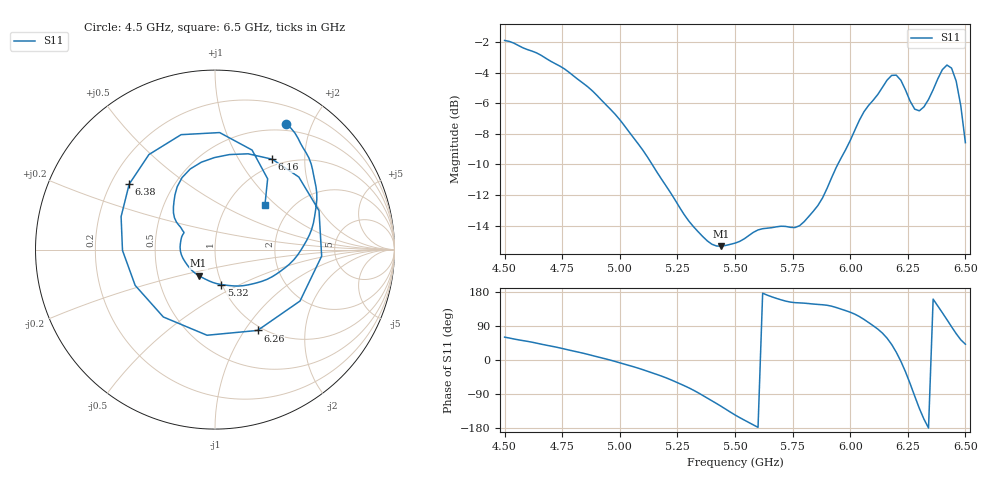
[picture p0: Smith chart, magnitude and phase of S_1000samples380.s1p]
! TOUCHSTONE file generated by CST MICROWAVE STUDIO
! Date and time: Thu Oct 27 23:26:43 2022
! Project name: L.cst
! Parameters = {Di=1.27; Epsilon_r=1.56; InnerDiameter=1.27; Length=2; Lf=10; Lg=60; OuterConductorThickness=0.2921; OuterDiameter=3.6; Wf=3; Wp=41.2; de=1.5; df=6.8; g=0.8; gx=1.07916; gy=1.49141; h=2.34; hf=1.524; px=10.6412; py=12.6834; w=9.7; wx=9.56204; wy=11.1919}
! Header version: 2018
! Port assignment regex: !\s*Touchstone port\s*([0-9]+)\s*=\s*(CST MWS port|CST DS port)\s*([0-9]+|Zmin|Zmax)\s*\(\"(.*)\"\)(\s*mode\s*([0-9]+))?.*
! Touchstone port assignment:
! Touchstone port 1 = CST MWS port 1 ("")
# GHz S DB R 50
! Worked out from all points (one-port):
!   101 points, 4.5 GHz to 6.5 GHz, reference 50 ohm
!   lowest |S11| = -15.3 dB at 5.44 GHz (marker M1), VSWR 1.41, Z = 40.1 - j11.9 ohm
!   |S11| at or under -10 dB: 5.14 GHz to 5.946 GHz (806 MHz wide, 14.5 % of centre)
!   S11 on the Smith chart (normalised r, x): 4.5 GHz: 0.42, +1.64; 5.32 GHz: 0.99, -0.40; 6.16 GHz: 0.90, +1.40; 6.26 GHz: 0.94, -1.15; 6.38 GHz: 0.28, +0.31; 6.5 GHz: 1.48, +0.85
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4.5  -1.90 60.3
4.76  -3.76 29.0
5  -7.08 -7.4
5.26  -12.82 -62.4
5.32  -14.08 -79.8
5.44  -15.35 -122.2
5.5  -15.15 -145.0
5.76  -14.13 151.4
5.9  -11.55 144.4
6  -8.44 126.1
6.08  -6.14 98.8
6.12  -5.43 81.4
6.16  -4.50 57.7
6.18  -4.18 40.9
6.2  -4.17 20.5
6.22  -4.50 -3.5
6.24  -5.14 -31.2
6.26  -5.87 -62.2
6.28  -6.39 -95.3
6.3  -6.50 -127.5
6.32  -6.24 -155.9
6.34  -5.76 -179.5
6.38  -4.42 142.6
6.42  -3.51 106.4
6.44  -3.71 87.7
6.46  -4.56 69.6
6.48  -6.17 53.4
6.5  -8.58 41.7
